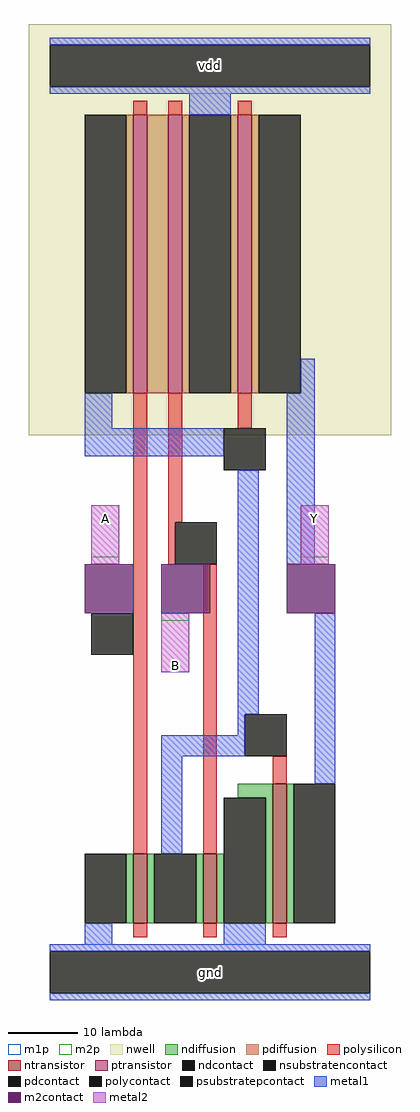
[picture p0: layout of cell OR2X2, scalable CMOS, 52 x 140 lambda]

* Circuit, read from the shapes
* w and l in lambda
.subckt OR2X2 A B Y vdd gnd
M1 n1 A gnd gnd nfet w=10 l=2
M2 gnd B n1 gnd nfet w=10 l=2
M3 Y n1 gnd gnd nfet w=20 l=2
M4 n2 A n1 vdd pfet w=40 l=2
M5 vdd B n2 vdd pfet w=40 l=2
M6 Y n1 vdd vdd pfet w=40 l=2
.ends

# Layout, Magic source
magic
tech scmos
magscale 1 2
<< nwell >>
rect -12 154 92 272
<< ntransistor >>
rect 18 14 22 34
rect 38 14 42 34
rect 58 14 62 54
<< ptransistor >>
rect 18 166 22 246
rect 28 166 32 246
rect 48 166 52 246
<< ndiffusion >>
rect 48 50 58 54
rect 16 14 18 34
rect 22 14 24 34
rect 36 14 38 34
rect 42 14 44 34
rect 56 14 58 50
rect 62 14 64 54
<< pdiffusion >>
rect 16 166 18 246
rect 22 166 28 246
rect 32 166 34 246
rect 46 166 48 246
rect 52 166 54 246
<< ndcontact >>
rect 4 14 16 34
rect 24 14 36 34
rect 44 14 56 50
rect 64 14 76 54
<< pdcontact >>
rect 4 166 16 246
rect 34 166 46 246
rect 54 166 66 246
<< psubstratepcontact >>
rect -6 -6 86 6
<< nsubstratencontact >>
rect -6 254 86 266
<< polysilicon >>
rect 18 246 22 250
rect 28 246 32 250
rect 48 246 52 250
rect 18 34 22 166
rect 28 129 32 166
rect 48 156 52 166
rect 28 117 30 129
rect 38 34 42 117
rect 58 54 62 62
rect 18 10 22 14
rect 38 10 42 14
rect 58 10 62 14
<< polycontact >>
rect 6 91 18 103
rect 44 144 56 156
rect 30 117 42 129
rect 50 62 62 74
<< metal1 >>
rect -6 266 86 268
rect -6 252 86 254
rect 34 246 46 252
rect 66 166 70 176
rect 4 156 12 166
rect 4 148 44 156
rect 48 74 54 144
rect 62 117 70 166
rect 48 68 50 74
rect 26 62 50 68
rect 26 34 32 62
rect 70 54 76 103
rect 4 8 12 14
rect 44 8 56 14
rect -6 6 86 8
rect -6 -8 86 -6
<< m2contact >>
rect 4 103 18 117
rect 26 103 40 117
rect 62 103 76 117
<< metal2 >>
rect 6 117 14 134
rect 66 117 74 134
rect 26 86 34 103
<< m1p >>
rect -6 252 86 268
rect -6 -8 86 8
<< m2p >>
rect 6 119 14 134
rect 66 119 74 134
rect 26 86 34 101
<< labels >>
rlabel metal2 10 130 10 130 1 A
port 1 n signal input
rlabel metal2 30 88 30 88 1 B
port 2 n signal input
rlabel metal2 70 130 70 130 1 Y
port 3 n signal output
rlabel metal1 -6 252 86 268 0 vdd
port 4 nsew power bidirectional abutment
rlabel metal1 -6 -8 86 8 0 gnd
port 5 nsew ground bidirectional abutment
<< properties >>
string FIXED_BBOX 0 0 80 260
string LEFclass CORE
string LEFsite core
string LEFsymmetry X Y
<< end >>
